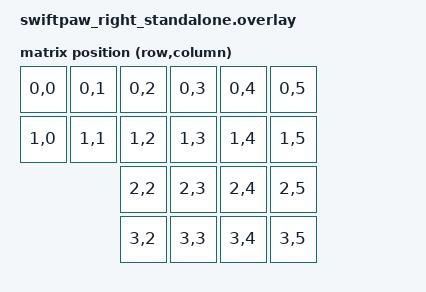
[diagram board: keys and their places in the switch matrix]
/*
 * Standalone build of the right half for testing on its own (matrix + PAW3395)
 * without needing the left half paired. Reuses the same matrix wiring and
 * sensor hardware as the split build, but has its OWN private, unshifted
 * transform (no col-offset, no combining with anything else) since this
 * shield never talks to a left half.
 */
#include "swiftpaw.dtsi"
#include "swiftpaw_right_hw.dtsi"

/*
 * Same reduced layout as the split right half: bottom two rows only have
 * keys at local cols 2-5 (2 leftmost keys removed on the physical PCB).
 * 6 + 6 + 4 + 4 = 20 keys, unshifted (col-offset stays at the default 0).
 */
/ {
    standalone_transform: standalone_transform {
        compatible = "zmk,matrix-transform";
        columns = <6>;
        rows = <4>;

        map = <
RC(0,0) RC(0,1) RC(0,2) RC(0,3) RC(0,4) RC(0,5)
RC(1,0) RC(1,1) RC(1,2) RC(1,3) RC(1,4) RC(1,5)
                RC(2,2) RC(2,3) RC(2,4) RC(2,5)
                RC(3,2) RC(3,3) RC(3,4) RC(3,5)
        >;
    };

    chosen {
        zmk,matrix-transform = &standalone_transform;
    };
};
